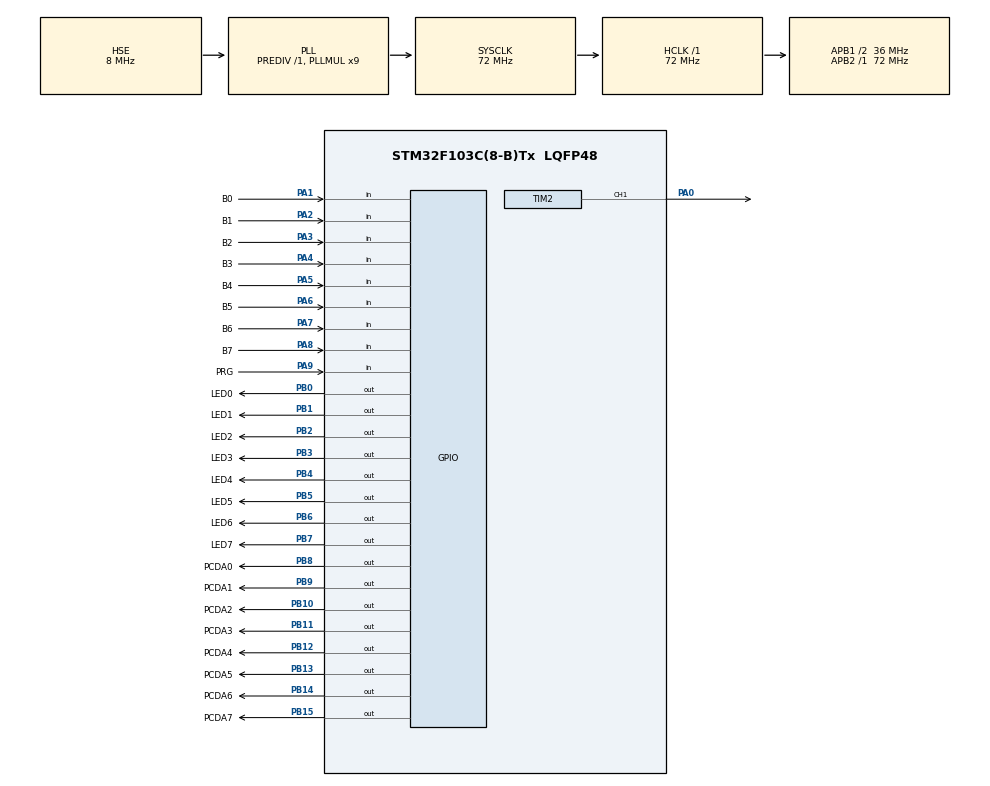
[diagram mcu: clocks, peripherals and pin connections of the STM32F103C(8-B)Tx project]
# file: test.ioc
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Mcu.Family=STM32F1
Mcu.Name=STM32F103C(8-B)Tx
Mcu.Package=LQFP48
NVIC.PriorityGroup=NVIC_PRIORITYGROUP_4
NVIC.TIM2_IRQn=true\:0\:0\:false\:false\:true\:true\:true\:true
PA0-WKUP.Signal=S_TIM2_CH1_ETR
PA1.GPIO_Label=B0
PA1.Signal=GPIO_Input
PA13.Mode=Serial_Wire
PA13.Signal=SYS_JTMS-SWDIO
PA14.Mode=Serial_Wire
PA14.Signal=SYS_JTCK-SWCLK
PA2.GPIO_Label=B1
PA2.Signal=GPIO_Input
PA3.GPIO_Label=B2
PA3.Signal=GPIO_Input
PA4.GPIO_Label=B3
PA4.Signal=GPIO_Input
PA5.GPIO_Label=B4
PA5.Signal=GPIO_Input
PA6.GPIO_Label=B5
PA6.Signal=GPIO_Input
PA7.GPIO_Label=B6
PA7.Signal=GPIO_Input
PA8.GPIO_Label=B7
PA8.Signal=GPIO_Input
PA9.GPIO_Label=PRG
PA9.Signal=GPIO_Input
PB0.GPIO_Label=LED0
PB0.Signal=GPIO_Output
PB1.GPIO_Label=LED1
PB1.Signal=GPIO_Output
PB10.GPIO_Label=PCDA2
PB10.Signal=GPIO_Output
PB11.GPIO_Label=PCDA3
PB11.Signal=GPIO_Output
PB12.GPIO_Label=PCDA4
PB12.Signal=GPIO_Output
PB13.GPIO_Label=PCDA5
PB13.Signal=GPIO_Output
PB14.GPIO_Label=PCDA6
PB14.Signal=GPIO_Output
PB15.GPIO_Label=PCDA7
PB15.Signal=GPIO_Output
PB2.GPIO_Label=LED2
PB2.Signal=GPIO_Output
PB3.GPIO_Label=LED3
PB3.Signal=GPIO_Output
PB4.GPIO_Label=LED4
PB4.Signal=GPIO_Output
PB5.GPIO_Label=LED5
PB5.Signal=GPIO_Output
PB6.GPIO_Label=LED6
PB6.Signal=GPIO_Output
PB7.GPIO_Label=LED7
PB7.Signal=GPIO_Output
PB8.GPIO_Label=PCDA0
PB8.Signal=GPIO_Output
PB9.GPIO_Label=PCDA1
PB9.Signal=GPIO_Output
PD0-OSC_IN.Mode=HSE-External-Oscillator
PD0-OSC_IN.Signal=RCC_OSC_IN
PD1-OSC_OUT.Mode=HSE-External-Oscillator
PD1-OSC_OUT.Signal=RCC_OSC_OUT
ProjectManager.HeapSize=0x200
ProjectManager.StackSize=0x400
ProjectManager.TargetToolchain=STM32CubeIDE
RCC.AHBFreq_Value=72000000
RCC.APB1CLKDivider=RCC_HCLK_DIV2
RCC.APB1Freq_Value=36000000
RCC.APB1TimFreq_Value=72000000
RCC.APB2Freq_Value=72000000
RCC.APB2TimFreq_Value=72000000
RCC.HCLKFreq_Value=72000000
RCC.PLLMUL=RCC_PLL_MUL9
RCC.PLLSourceVirtual=RCC_PLLSOURCE_HSE
RCC.SYSCLKFreq_VALUE=72000000
RCC.SYSCLKSource=RCC_SYSCLKSOURCE_PLLCLK
RCC.USBFreq_Value=72000000
SH.S_TIM2_CH1_ETR.0=TIM2_CH1,Output Compare1 CH1
TIM2.Channel-Output\ Compare1\ CH1=TIM_CHANNEL_1
TIM2.Period=100
TIM2.Prescaler=7199
VP_TIM2_VS_ClockSourceINT.Mode=Internal
board=custom

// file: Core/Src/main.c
/* USER CODE BEGIN Header */
/**
  ******************************************************************************
  * @file           : main.c
  * @brief          : Main program body
  ******************************************************************************
  * @attention
  *
  * Copyright (c) 2026 STMicroelectronics.
  * All rights reserved.
  *
  * This software is licensed under terms that can be found in the LICENSE file
  * in the root directory of this software component.
  * If no LICENSE file comes with this software, it is provided AS-IS.
  *
  ******************************************************************************
  */
/* USER CODE END Header */
#include "main.h"

/* USER CODE BEGIN PTD */
typedef enum
{
  ARM_STATE_WAIT_RELEASE = 0,
  ARM_STATE_WAIT_PRESS,
  ARM_STATE_TRANSMIT
} ArmState_t;

/* USER CODE END PTD */

TIM_HandleTypeDef htim2;

/* USER CODE BEGIN PV */
static volatile uint8_t g_sampledCommand;
static volatile uint8_t g_prgLevel;
static volatile uint8_t g_tickReady;
static volatile uint8_t g_lastCommand;
static uint8_t g_pendingCommand;
static ArmState_t g_armState = ARM_STATE_WAIT_RELEASE;

/* USER CODE END PV */

void SystemClock_Config(void);
static void MX_GPIO_Init(void);
static void MX_TIM2_Init(void);
/* USER CODE BEGIN PFP */
static uint8_t ARM_ReadCommand(void);
static uint8_t ARM_BuildCommand(uint8_t rawValue);
static void ARM_WriteLedBus(uint8_t value);
static void ARM_WriteCommandBus(uint8_t value);
static void ARM_TransmitCommand(uint8_t value);

/* USER CODE END PFP */

/* USER CODE BEGIN 0 */
/* Timer2 Interrupt Service Routine*/
void HAL_TIM_PeriodElapsedCallback(TIM_HandleTypeDef *htim)
{
  if (htim->Instance != TIM2)
  {
    return;
  }

  g_sampledCommand = ARM_ReadCommand();
  g_prgLevel = (HAL_GPIO_ReadPin(PRG_GPIO_Port, PRG_Pin) == GPIO_PIN_SET) ? 1U : 0U;
  g_tickReady = 1U;
}
/* USER CODE END 0 */

int main(void)
{

  /* MCU Configuration--------------------------------------------------------*/

  /* Reset of all peripherals, Initializes the Flash interface and the Systick. */
  HAL_Init();

  /* Configure the system clock */
  SystemClock_Config();

  /* Initialize all configured peripherals */
  MX_GPIO_Init();
  MX_TIM2_Init();
  /* USER CODE BEGIN 2 */
  ARM_WriteLedBus(0U);
  ARM_WriteCommandBus(0U);
  HAL_TIM_Base_Start_IT(&htim2); //porneste intreruperea periodica a lui TIM2
  /* USER CODE END 2 */

  /* Infinite loop */
  while (1)
  {

    /* USER CODE BEGIN 3 */
    if (g_tickReady == 0U)
    {
      continue;
    }

    __disable_irq();
    uint8_t sampledCommand = g_sampledCommand;
    uint8_t prgLevel = g_prgLevel;
    g_tickReady = 0U;
    __enable_irq();

    switch (g_armState)
    {
      case ARM_STATE_WAIT_RELEASE:
        if (prgLevel == 0U)
        {
          g_armState = ARM_STATE_WAIT_PRESS;
        }
        break;

      case ARM_STATE_WAIT_PRESS:
        if (prgLevel != 0U)
        {
          g_pendingCommand = ARM_BuildCommand(sampledCommand);
          g_armState = ARM_STATE_TRANSMIT;
        }
        break;

      case ARM_STATE_TRANSMIT:
        ARM_TransmitCommand(g_pendingCommand);
        g_armState = ARM_STATE_WAIT_RELEASE;
        break;

      default:
        g_armState = ARM_STATE_WAIT_RELEASE;
        break;
    }
  }
  /* USER CODE END 3 */
}

void SystemClock_Config(void)
{
  RCC_OscInitTypeDef RCC_OscInitStruct = {0};
  RCC_ClkInitTypeDef RCC_ClkInitStruct = {0};

  /** Initializes the RCC Oscillators according to the specified parameters
  * in the RCC_OscInitTypeDef structure.
  */
  RCC_OscInitStruct.OscillatorType = RCC_OSCILLATORTYPE_HSE;
  RCC_OscInitStruct.HSEState = RCC_HSE_ON;
  RCC_OscInitStruct.HSEPredivValue = RCC_HSE_PREDIV_DIV1;
  RCC_OscInitStruct.HSIState = RCC_HSI_ON;
  RCC_OscInitStruct.PLL.PLLState = RCC_PLL_ON;
  RCC_OscInitStruct.PLL.PLLSource = RCC_PLLSOURCE_HSE;
  RCC_OscInitStruct.PLL.PLLMUL = RCC_PLL_MUL9;
  if (HAL_RCC_OscConfig(&RCC_OscInitStruct) != HAL_OK)
  {
    Error_Handler();
  }

  /** Initializes the CPU, AHB and APB buses clocks
  */
  RCC_ClkInitStruct.ClockType = RCC_CLOCKTYPE_HCLK|RCC_CLOCKTYPE_SYSCLK
                              |RCC_CLOCKTYPE_PCLK1|RCC_CLOCKTYPE_PCLK2;
  RCC_ClkInitStruct.SYSCLKSource = RCC_SYSCLKSOURCE_PLLCLK;
  RCC_ClkInitStruct.AHBCLKDivider = RCC_SYSCLK_DIV1;
  RCC_ClkInitStruct.APB1CLKDivider = RCC_HCLK_DIV2;
  RCC_ClkInitStruct.APB2CLKDivider = RCC_HCLK_DIV1;

  if (HAL_RCC_ClockConfig(&RCC_ClkInitStruct, FLASH_LATENCY_2) != HAL_OK)
  {
    Error_Handler();
  }
}

static void MX_TIM2_Init(void)
{

  TIM_ClockConfigTypeDef sClockSourceConfig = {0};
  TIM_MasterConfigTypeDef sMasterConfig = {0};
  TIM_OC_InitTypeDef sConfigOC = {0};

  htim2.Instance = TIM2;
  htim2.Init.Prescaler = 7199;
  htim2.Init.CounterMode = TIM_COUNTERMODE_UP;
  htim2.Init.Period = 100;
  htim2.Init.ClockDivision = TIM_CLOCKDIVISION_DIV1;
  htim2.Init.AutoReloadPreload = TIM_AUTORELOAD_PRELOAD_DISABLE;
  if (HAL_TIM_Base_Init(&htim2) != HAL_OK)
  {
    Error_Handler();
  }
  sClockSourceConfig.ClockSource = TIM_CLOCKSOURCE_INTERNAL;
  if (HAL_TIM_ConfigClockSource(&htim2, &sClockSourceConfig) != HAL_OK)
  {
    Error_Handler();
  }
  if (HAL_TIM_OC_Init(&htim2) != HAL_OK)
  {
    Error_Handler();
  }
  sMasterConfig.MasterOutputTrigger = TIM_TRGO_RESET;
  sMasterConfig.MasterSlaveMode = TIM_MASTERSLAVEMODE_DISABLE;
  if (HAL_TIMEx_MasterConfigSynchronization(&htim2, &sMasterConfig) != HAL_OK)
  {
    Error_Handler();
  }
  sConfigOC.OCMode = TIM_OCMODE_TIMING;
  sConfigOC.Pulse = 0;
  sConfigOC.OCPolarity = TIM_OCPOLARITY_HIGH;
  sConfigOC.OCFastMode = TIM_OCFAST_DISABLE;
  if (HAL_TIM_OC_ConfigChannel(&htim2, &sConfigOC, TIM_CHANNEL_1) != HAL_OK)
  {
    Error_Handler();
  }
  HAL_TIM_MspPostInit(&htim2);

}

static void MX_GPIO_Init(void)
{
  GPIO_InitTypeDef GPIO_InitStruct = {0};

  /* GPIO Ports Clock Enable */
  __HAL_RCC_GPIOD_CLK_ENABLE();
  __HAL_RCC_GPIOA_CLK_ENABLE();
  __HAL_RCC_GPIOB_CLK_ENABLE();

  /*Configure GPIO pin Output Level */
  HAL_GPIO_WritePin(GPIOB, LED0_Pin|LED1_Pin|LED2_Pin|PCDA2_Pin
                          |PCDA3_Pin|PCDA4_Pin|PCDA5_Pin|PCDA6_Pin
                          |PCDA7_Pin|LED3_Pin|LED4_Pin|LED5_Pin
                          |LED6_Pin|LED7_Pin|PCDA0_Pin|PCDA1_Pin, GPIO_PIN_RESET);

  /*Configure GPIO pins : B0_Pin B1_Pin B2_Pin B3_Pin
                           B4_Pin B5_Pin B6_Pin B7_Pin
                           PRG_Pin */
  GPIO_InitStruct.Pin = B0_Pin|B1_Pin|B2_Pin|B3_Pin
                          |B4_Pin|B5_Pin|B6_Pin|B7_Pin
                          |PRG_Pin;
  GPIO_InitStruct.Mode = GPIO_MODE_INPUT;
  GPIO_InitStruct.Pull = GPIO_NOPULL;
  HAL_GPIO_Init(GPIOA, &GPIO_InitStruct);

  /*Configure GPIO pins : LED0_Pin LED1_Pin LED2_Pin PCDA2_Pin
                           PCDA3_Pin PCDA4_Pin PCDA5_Pin PCDA6_Pin
                           PCDA7_Pin LED3_Pin LED4_Pin LED5_Pin
                           LED6_Pin LED7_Pin PCDA0_Pin PCDA1_Pin */
  GPIO_InitStruct.Pin = LED0_Pin|LED1_Pin|LED2_Pin|PCDA2_Pin
                          |PCDA3_Pin|PCDA4_Pin|PCDA5_Pin|PCDA6_Pin
                          |PCDA7_Pin|LED3_Pin|LED4_Pin|LED5_Pin
                          |LED6_Pin|LED7_Pin|PCDA0_Pin|PCDA1_Pin;
  GPIO_InitStruct.Mode = GPIO_MODE_OUTPUT_PP;
  GPIO_InitStruct.Pull = GPIO_NOPULL;
  GPIO_InitStruct.Speed = GPIO_SPEED_FREQ_LOW;
  HAL_GPIO_Init(GPIOB, &GPIO_InitStruct);

}

/* USER CODE BEGIN 4 */
static uint8_t ARM_ReadCommand(void)
{
  uint8_t value = 0U;

  value |= (HAL_GPIO_ReadPin(B0_GPIO_Port, B0_Pin) == GPIO_PIN_SET) ? (1U << 0) : 0U;
  value |= (HAL_GPIO_ReadPin(B1_GPIO_Port, B1_Pin) == GPIO_PIN_SET) ? (1U << 1) : 0U;
  value |= (HAL_GPIO_ReadPin(B2_GPIO_Port, B2_Pin) == GPIO_PIN_SET) ? (1U << 2) : 0U;
  value |= (HAL_GPIO_ReadPin(B3_GPIO_Port, B3_Pin) == GPIO_PIN_SET) ? (1U << 3) : 0U;
  value |= (HAL_GPIO_ReadPin(B4_GPIO_Port, B4_Pin) == GPIO_PIN_SET) ? (1U << 4) : 0U;
  value |= (HAL_GPIO_ReadPin(B5_GPIO_Port, B5_Pin) == GPIO_PIN_SET) ? (1U << 5) : 0U;
  value |= (HAL_GPIO_ReadPin(B6_GPIO_Port, B6_Pin) == GPIO_PIN_SET) ? (1U << 6) : 0U;
  value |= (HAL_GPIO_ReadPin(B7_GPIO_Port, B7_Pin) == GPIO_PIN_SET) ? (1U << 7) : 0U;

  return value;
}

static uint8_t ARM_BuildCommand(uint8_t rawValue)
{
  /* D7 si D6 raman biti de validare, iar bitii D5...D0 sunt preluati din intrare. */
  return (uint8_t)(0xC0U | (rawValue & 0x3FU));
}

static void ARM_WriteLedBus(uint8_t value)
{
  HAL_GPIO_WritePin(LED0_GPIO_Port, LED0_Pin, (value & (1U << 0)) ? GPIO_PIN_SET : GPIO_PIN_RESET);
  HAL_GPIO_WritePin(LED1_GPIO_Port, LED1_Pin, (value & (1U << 1)) ? GPIO_PIN_SET : GPIO_PIN_RESET);
  HAL_GPIO_WritePin(LED2_GPIO_Port, LED2_Pin, (value & (1U << 2)) ? GPIO_PIN_SET : GPIO_PIN_RESET);
  HAL_GPIO_WritePin(LED3_GPIO_Port, LED3_Pin, (value & (1U << 3)) ? GPIO_PIN_SET : GPIO_PIN_RESET);
  HAL_GPIO_WritePin(LED4_GPIO_Port, LED4_Pin, (value & (1U << 4)) ? GPIO_PIN_SET : GPIO_PIN_RESET);
  HAL_GPIO_WritePin(LED5_GPIO_Port, LED5_Pin, (value & (1U << 5)) ? GPIO_PIN_SET : GPIO_PIN_RESET);
  HAL_GPIO_WritePin(LED6_GPIO_Port, LED6_Pin, (value & (1U << 6)) ? GPIO_PIN_SET : GPIO_PIN_RESET);
  HAL_GPIO_WritePin(LED7_GPIO_Port, LED7_Pin, (value & (1U << 7)) ? GPIO_PIN_SET : GPIO_PIN_RESET);
}

static void ARM_WriteCommandBus(uint8_t value)
{
  HAL_GPIO_WritePin(PCDA0_GPIO_Port, PCDA0_Pin, (value & (1U << 0)) ? GPIO_PIN_SET : GPIO_PIN_RESET);
  HAL_GPIO_WritePin(PCDA1_GPIO_Port, PCDA1_Pin, (value & (1U << 1)) ? GPIO_PIN_SET : GPIO_PIN_RESET);
  HAL_GPIO_WritePin(PCDA2_GPIO_Port, PCDA2_Pin, (value & (1U << 2)) ? GPIO_PIN_SET : GPIO_PIN_RESET);
  HAL_GPIO_WritePin(PCDA3_GPIO_Port, PCDA3_Pin, (value & (1U << 3)) ? GPIO_PIN_SET : GPIO_PIN_RESET);
  HAL_GPIO_WritePin(PCDA4_GPIO_Port, PCDA4_Pin, (value & (1U << 4)) ? GPIO_PIN_SET : GPIO_PIN_RESET);
  HAL_GPIO_WritePin(PCDA5_GPIO_Port, PCDA5_Pin, (value & (1U << 5)) ? GPIO_PIN_SET : GPIO_PIN_RESET);
  HAL_GPIO_WritePin(PCDA6_GPIO_Port, PCDA6_Pin, (value & (1U << 6)) ? GPIO_PIN_SET : GPIO_PIN_RESET);
  HAL_GPIO_WritePin(PCDA7_GPIO_Port, PCDA7_Pin, (value & (1U << 7)) ? GPIO_PIN_SET : GPIO_PIN_RESET);
}

static void ARM_TransmitCommand(uint8_t value)
{
  g_lastCommand = value;
  ARM_WriteLedBus(g_lastCommand);
  ARM_WriteCommandBus(g_lastCommand);
}

/* USER CODE END 4 */

void Error_Handler(void)
{
  __disable_irq();
  while (1)
  {
  }
}
